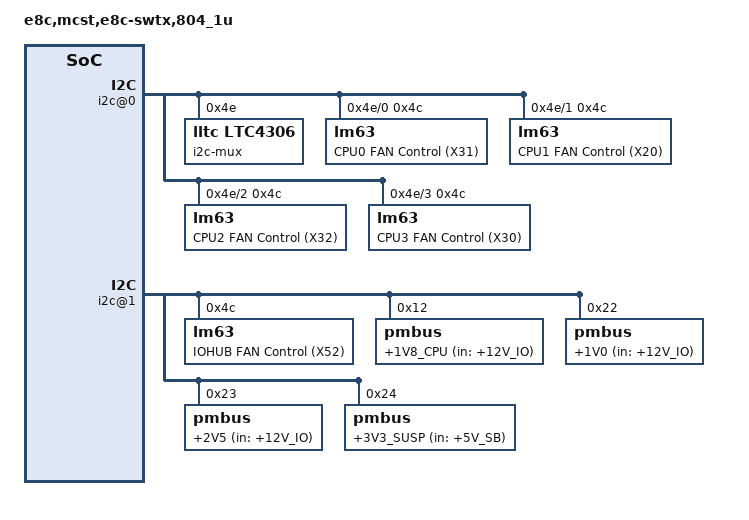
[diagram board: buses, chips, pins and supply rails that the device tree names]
/*
 * E8C-SWTX
 * TVGI.469535.221 ver.4 (izm7)
 * (804 1U)
 */
/dts-v1/;

/*#include <dt-bindings/input/input.h>*/

/ {
	/* version = ""; */
	model = "e8c,mcst,e8c-swtx,804_1u";
	compatible = "mcst,e8c-swtx";
	#address-cells = <1>;
	#size-cells = <0>;

	/* IOHUB2 I2C */
	l_i2c@0 {
		#address-cells = <1>;
		#size-cells = <0>;
		reg = <0>;
		compatible = "l_i2c";
		label = "iohub2 i2c";

		i2c@0 {
			/* I2C_CPU */
			#address-cells = <1>;
			#size-cells = <0>;
			reg = <0>;

			i2c-mux@4E {
				/* i2c/muxes/i2c-mux-ltc4306.ko (DD7:LTC4306IUFD) */
				#address-cells = <1>;
				#size-cells = <0>;
				compatible = "lltc,ltc4306";
				reg = <0x4E>; /* NLN */
				/* i2c-mux-idle-disconnect; */

				i2c@0 {
					/* I2C_CPU0 */
					#address-cells = <1>;
					#size-cells = <0>;
					reg = <0>;

					lm96163@4c {
						/* hwmon/lm63.ko (DD8:LM96163CISD) */
						compatible = "lm63";
						reg = <0x4c>;
						label = "CPU0 FAN Control (X31)";

						temp1_label = "Internal Temp";
						temp2_label = "CPU0 Temp";
					};

					/* A1 "CPU0" - I2C_MAIN */
					/*
					 * MC0.S0:0x50,0x30,0x18
					 * MC0.S1:0x51,0x31,0x19
					 * MC1.S0:0x52,0x32,0x1A
					 * MC1.S1:0x53,0x33,0x1B
					 * MC2.S0:0x54,0x34,0x1C
					 * MC2.S1:0x55,0x35,0x1D
					 * MC3.S0:0x56,0x36,0x1E
					 * MC3.S1:0x57,0x37,0x1f
					 */
				};

				i2c@1 {
					/* I2C_CPU1 */
					#address-cells = <1>;
					#size-cells = <0>;
					reg = <1>;

					lm96163@4c {
						/* hwmon/lm63.ko (DD11:LM96163CISD) */
						compatible = "lm63";
						reg = <0x4c>;
						label = "CPU1 FAN Control (X20)";

						temp1_label = "Internal Temp";
						temp2_label = "CPU1 Temp";
					};

					/* A2 "CPU1" - I2C_MAIN */
					/*
					 * MC0.S0:0x50,0x30,0x18
					 * MC0.S1:0x51,0x31,0x19
					 * MC1.S0:0x52,0x32,0x1A
					 * MC1.S1:0x53,0x33,0x1B
					 * MC2.S0:0x54,0x34,0x1C
					 * MC2.S1:0x55,0x35,0x1D
					 * MC3.S0:0x56,0x36,0x1E
					 * MC3.S1:0x57,0x37,0x1f
					 */
				};

				i2c@2 {
					/* I2C_CPU2 */
					#address-cells = <1>;
					#size-cells = <0>;
					reg = <2>;

					lm96163@4c {
						/* hwmon/lm63.ko (DD14:LM96163CISD) */
						compatible = "lm63";
						reg = <0x4c>;
						label = "CPU2 FAN Control (X32)";

						temp1_label = "Internal Temp";
						temp2_label = "CPU2 Temp";
					};

					/* A3 "CPU2" - I2C_MAIN */
					/*
					 * MC0.S0:0x50,0x30,0x18
					 * MC0.S1:0x51,0x31,0x19
					 * MC1.S0:0x52,0x32,0x1A
					 * MC1.S1:0x53,0x33,0x1B
					 * MC2.S0:0x54,0x34,0x1C
					 * MC2.S1:0x55,0x35,0x1D
					 * MC3.S0:0x56,0x36,0x1E
					 * MC3.S1:0x57,0x37,0x1f
					 */
				};

				i2c@3 {
					/* I2C_CPU3 */
					#address-cells = <1>;
					#size-cells = <0>;
					reg = <3>;

					lm96163@4c {
						/* hwmon/lm63.ko (DD15:LM96163CISD) */
						compatible = "lm63";
						reg = <0x4c>;
						label = "CPU3 FAN Control (X30)";

						temp1_label = "Internal Temp";
						temp2_label = "CPU3 Temp";
					};

					/* A4 "CPU3" - I2C_MAIN */
					/*
					 * MC0.S0:0x50,0x30,0x18
					 * MC0.S1:0x51,0x31,0x19
					 * MC1.S0:0x52,0x32,0x1A
					 * MC1.S1:0x53,0x33,0x1B
					 * MC2.S0:0x54,0x34,0x1C
					 * MC2.S1:0x55,0x35,0x1D
					 * MC3.S0:0x56,0x36,0x1E
					 * MC3.S1:0x57,0x37,0x1f
					 */
				};
			};
		};

		i2c@1 {
			/* I2C_PMBUS */
			#address-cells = <1>;
			#size-cells = <0>;
			reg = <1>;

			lm96163@4c {
				/* hwmon/lm63.ko (DD5:LM96163CISD) */
				compatible = "lm63";
				reg = <0x4c>;
				label = "IOHUB FAN Control (X52)";

				temp1_label = "Internal Temp";
				temp2_label = "IOHUB Temp";
			};

			/* config SENSORS_PMBUS */
			pdt012@12 {
				/* hwmon/pmbus/pmbus.ko (DA2:PDT012A0X3-SRZ) */
				compatible = "pmbus";
				reg = <0x12>; /* 23k7|23k7 */
				label = "+1V8_CPU (in: +12V_IO)";
			};
			pdt012@22 {
				/* hwmon/pmbus/pmbus.ko (DA4:PDT012A0X3-SRZ) */
				compatible = "pmbus";
				reg = <0x22>; /* 54k9|23k7 */
				label = "+1V0 (in: +12V_IO)";
			};
			pdt012@23 {
				/* hwmon/pmbus/pmbus.ko (DA3:PDT012A0X3-SRZ) */
				compatible = "pmbus";
				reg = <0x23>; /* 54k9|36k5 */
				label = "+2V5 (in: +12V_IO)";
			};

			/* I2C_PMBUS -- [DD40] -- I2C_PMBUS_ISO */

			pdt012@24 {
				/* hwmon/pmbus/pmbus.ko (DA1:PDT012A0X3-SRZ) */
				compatible = "pmbus";
				reg = <0x24>; /* 54k9|54k9 */
				label = "+3V3_SUSP (in: +5V_SB)";
			};

			/*
			 * [X39:SNP346-24VP21-2V_FP_IO] SSI EEB v.1.0.1 p. 2.3.3
			 * [X56:SNP346-10VP21-2V] Digital Power Insight
			 * [X55:70545-0004] SSI EEB v.1.0.1 p. 2.3.1.3
			 *       Addr:0x38,0x39,0x3C,0x3D
			 */
		};

		i2c@2 {
			/* I2C_PCI */
			#address-cells = <1>;
			#size-cells = <0>;
			reg = <2>;

			/* PCIe/PCI slots */
		};

		i2c@3 {
			/* I2C_FRUID */
			#address-cells = <1>;
			#size-cells = <0>;
			reg = <3>;

			/* [DD28:24FC128-I/ST] (EEPROM)@0x57 "FRUID" */
		};
	};

	/* IOHUB2 SPI */
	l_spi@0 {
		#address-cells = <1>;
		#size-cells = <0>;
		compatible = "l_spi";
		reg = <0>;
		label = "iohub2 spi";

		boot@0 {
			/* (DD33:S25FL128SAGNFI001) */
			compatible = "mcst,boot";
			reg = <0>;
			spi-max-frequency = <25000000>;
		};
		rtc-cy14b101p@1 {
			/* (DD6:CY14B101PA-SFXI) */
			compatible = "rtc-cy14b101p";
			reg = <1>;
			spi-max-frequency = <12500000>;
		};
	};

	/* l_gpio@%d */
	/*
	 * I2C0: I2C_CPU_ALERT#   - [DD2]1991VG2YA - GPIO18
	 * I2C1: I2C_PMBUS_ALERT# - [DD2]1991VG2YA - GPIO17
	 */
};
